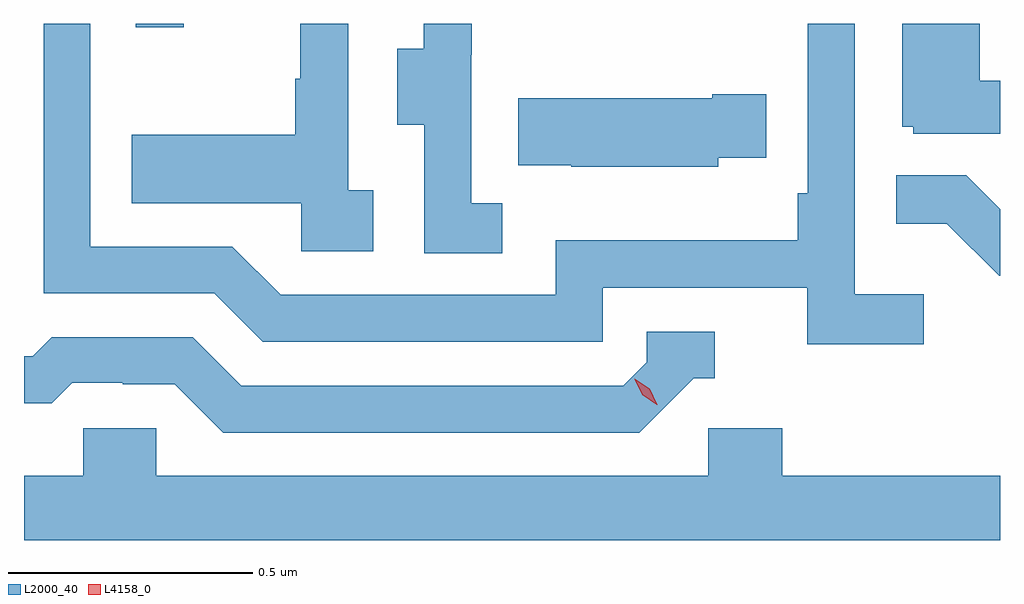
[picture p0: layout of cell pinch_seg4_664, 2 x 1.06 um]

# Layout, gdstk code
import gdstk
lib = gdstk.Library(unit=1e-6, precision=1e-09)
def R(c, l, rs):  # rectangles x0, y0, x1, y1
    for r in rs: c.add(gdstk.rectangle(r[:2], r[2:], *l))
def P(c, l, *ps):  # polygons
    for p in ps: c.add(gdstk.Polygon(p, *l))
L2000_40 = (2000, 40)
L4158_0 = (4158, 0)

pinch_seg4_664 = lib.new_cell('pinch_seg4_664')
R(pinch_seg4_664, L2000_40, [(1038.453,749.952,1038.551,749.959)])
P(pinch_seg4_664, L2000_40, [(1040.224,749.842),(1040.182,749.842),(1040.182,749.959),(1040.024,749.959),(1040.024,749.748),(1040.046,749.748),(1040.046,749.733),(1040.224,749.733)],
  [(1040.068,749.404),(1039.926,749.404),(1039.926,749.959),(1039.83,749.959),(1039.83,749.611),(1039.81,749.611),(1039.81,749.515),(1039.314,749.515),(1039.314,749.403),(1038.75,749.403),(1038.651,749.502),(1038.36,749.502),(1038.36,749.959),(1038.264,749.959),(1038.264,749.406),(1038.614,749.406),(1038.713,749.307),(1039.41,749.307),(1039.41,749.418),(1039.829,749.418),(1039.829,749.302),(1040.068,749.302)],
  [(1038.94,749.618),(1038.888,749.618),(1038.888,749.959),(1038.79,749.959),(1038.79,749.846),(1038.78,749.846),(1038.78,749.731),(1038.445,749.731),(1038.445,749.591),(1038.792,749.591),(1038.792,749.493),(1038.94,749.493)],
  [(1039.204,749.591),(1039.14,749.591),(1039.14,749.895),(1039.142,749.895),(1039.142,749.959),(1039.043,749.959),(1039.043,749.907),(1038.989,749.907),(1038.989,749.752),(1039.044,749.752),(1039.044,749.488),(1039.204,749.488)],
  [(1039.647,749.684),(1039.745,749.684),(1039.745,749.814),(1039.634,749.814),(1039.634,749.806),(1039.237,749.806),(1039.237,749.669),(1039.345,749.669),(1039.345,749.666),(1039.647,749.666)],
  [(1040.224,749.579),(1040.155,749.648),(1040.011,749.648),(1040.011,749.549),(1040.115,749.549),(1040.222,749.442),(1040.224,749.442)],
  [(1039.596,749.232),(1039.639,749.232),(1039.639,749.328),(1039.5,749.328),(1039.5,749.265),(1039.452,749.217),(1038.669,749.217),(1038.57,749.316),(1038.281,749.316),(1038.242,749.277),(1038.224,749.277),(1038.224,749.181),(1038.281,749.181),(1038.323,749.223),(1038.426,749.223),(1038.426,749.22),(1038.533,749.22),(1038.632,749.121),(1039.485,749.121)],
  [(1040.224,749.032),(1039.778,749.032),(1039.778,749.13),(1039.626,749.13),(1039.626,749.032),(1038.495,749.032),(1038.495,749.13),(1038.345,749.13),(1038.345,749.032),(1038.224,749.032),(1038.224,748.9),(1040.224,748.9)])
P(pinch_seg4_664, L4158_0, [(1039.521,749.178),(1039.491,749.198),(1039.476,749.23),(1039.476,749.231),(1039.476,749.231),(1039.506,749.211),(1039.522,749.178),(1039.522,749.178)])

lib.write_gds('pinch_seg4_664.gds')
